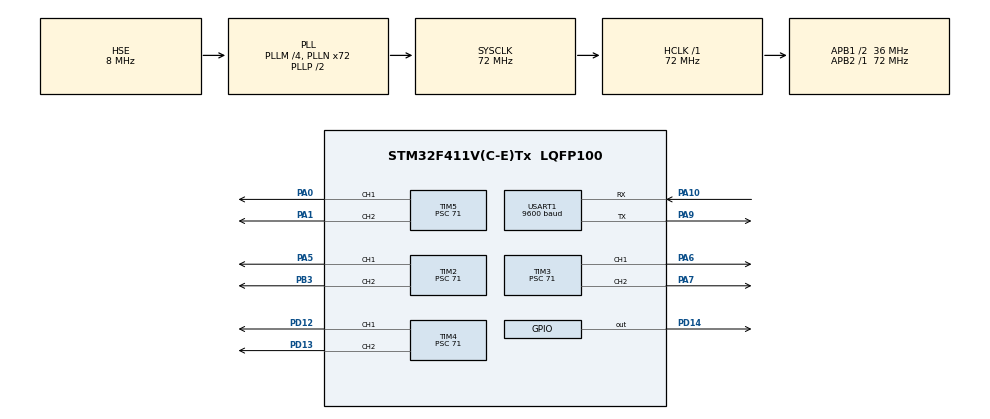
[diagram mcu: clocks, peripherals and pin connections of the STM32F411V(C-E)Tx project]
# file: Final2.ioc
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Mcu.Family=STM32F4
Mcu.Name=STM32F411V(C-E)Tx
Mcu.Package=LQFP100
NVIC.PriorityGroup=NVIC_PRIORITYGROUP_4
NVIC.USART1_IRQn=true\:0\:0\:false\:false\:true\:true\:true\:true
PA0-WKUP.Signal=S_TIM5_CH1
PA1.Signal=S_TIM5_CH2
PA10.Mode=Asynchronous
PA10.Signal=USART1_RX
PA5.Signal=S_TIM2_CH1_ETR
PA6.Signal=S_TIM3_CH1
PA7.Signal=S_TIM3_CH2
PA9.Mode=Asynchronous
PA9.Signal=USART1_TX
PB3.Signal=S_TIM2_CH2
PD12.Signal=S_TIM4_CH1
PD13.Signal=S_TIM4_CH2
PD14.Signal=GPIO_Output
PH0\ -\ OSC_IN.Mode=HSE-External-Oscillator
PH0\ -\ OSC_IN.Signal=RCC_OSC_IN
PH1\ -\ OSC_OUT.Mode=HSE-External-Oscillator
PH1\ -\ OSC_OUT.Signal=RCC_OSC_OUT
ProjectManager.HeapSize=0x200
ProjectManager.StackSize=0x400
ProjectManager.TargetToolchain=STM32CubeIDE
RCC.48MHZClocksFreq_Value=36000000
RCC.AHBFreq_Value=72000000
RCC.APB1CLKDivider=RCC_HCLK_DIV2
RCC.APB1Freq_Value=36000000
RCC.APB1TimFreq_Value=72000000
RCC.APB2Freq_Value=72000000
RCC.APB2TimFreq_Value=72000000
RCC.CortexFreq_Value=72000000
RCC.HCLKFreq_Value=72000000
RCC.HSE_VALUE=8000000
RCC.HSI_VALUE=16000000
RCC.LSE_VALUE=32768
RCC.PLLM=4
RCC.PLLN=72
RCC.PLLSourceVirtual=RCC_PLLSOURCE_HSE
RCC.SYSCLKFreq_VALUE=72000000
RCC.SYSCLKSource=RCC_SYSCLKSOURCE_PLLCLK
RCC.VCOOutputFreq_Value=144000000
SH.S_TIM2_CH1_ETR.0=TIM2_CH1,PWM Generation1 CH1
SH.S_TIM2_CH2.0=TIM2_CH2,PWM Generation2 CH2
SH.S_TIM3_CH1.0=TIM3_CH1,PWM Generation1 CH1
SH.S_TIM3_CH2.0=TIM3_CH2,PWM Generation2 CH2
SH.S_TIM4_CH1.0=TIM4_CH1,PWM Generation1 CH1
SH.S_TIM4_CH2.0=TIM4_CH2,PWM Generation2 CH2
SH.S_TIM5_CH1.0=TIM5_CH1,PWM Generation1 CH1
SH.S_TIM5_CH2.0=TIM5_CH2,PWM Generation2 CH2
TIM2.AutoReloadPreload=TIM_AUTORELOAD_PRELOAD_ENABLE
TIM2.Channel-PWM\ Generation1\ CH1=TIM_CHANNEL_1
TIM2.Channel-PWM\ Generation2\ CH2=TIM_CHANNEL_2
TIM2.Period=19999
TIM2.Prescaler=71
TIM2.Pulse-PWM\ Generation1\ CH1=499
TIM2.Pulse-PWM\ Generation2\ CH2=499
TIM3.AutoReloadPreload=TIM_AUTORELOAD_PRELOAD_ENABLE
TIM3.Channel-PWM\ Generation1\ CH1=TIM_CHANNEL_1
TIM3.Channel-PWM\ Generation2\ CH2=TIM_CHANNEL_2
TIM3.Period=19999
TIM3.Prescaler=71
TIM3.Pulse-PWM\ Generation1\ CH1=499
TIM3.Pulse-PWM\ Generation2\ CH2=499
TIM4.AutoReloadPreload=TIM_AUTORELOAD_PRELOAD_ENABLE
TIM4.Channel-PWM\ Generation1\ CH1=TIM_CHANNEL_1
TIM4.Channel-PWM\ Generation2\ CH2=TIM_CHANNEL_2
TIM4.Period=19999
TIM4.Prescaler=71
TIM4.Pulse-PWM\ Generation1\ CH1=500-1
TIM4.Pulse-PWM\ Generation2\ CH2=500-1
TIM5.AutoReloadPreload=TIM_AUTORELOAD_PRELOAD_ENABLE
TIM5.Channel-PWM\ Generation1\ CH1=TIM_CHANNEL_1
TIM5.Channel-PWM\ Generation2\ CH2=TIM_CHANNEL_2
TIM5.Period=19999
TIM5.Prescaler=71
TIM5.Pulse-PWM\ Generation1\ CH1=500-1
TIM5.Pulse-PWM\ Generation2\ CH2=500-1
USART1.BaudRate=9600
USART1.VirtualMode=VM_ASYNC
VP_TIM2_VS_ClockSourceINT.Mode=Internal
VP_TIM3_VS_ClockSourceINT.Mode=Internal
VP_TIM4_VS_ClockSourceINT.Mode=Internal
VP_TIM5_VS_ClockSourceINT.Mode=Internal
board=custom

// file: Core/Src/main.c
/* USER CODE BEGIN Header */
/**
  ******************************************************************************
  * @file           : main.c
  * @brief          : Main program body
  ******************************************************************************
  * @attention
  *
  * Copyright (c) 2024 STMicroelectronics.
  * All rights reserved.
  *
  * This software is licensed under terms that can be found in the LICENSE file
  * in the root directory of this software component.
  * If no LICENSE file comes with this software, it is provided AS-IS.
  *
  ******************************************************************************
  */
/* USER CODE END Header */
#include "main.h"

TIM_HandleTypeDef htim2;
TIM_HandleTypeDef htim3;
TIM_HandleTypeDef htim4;
TIM_HandleTypeDef htim5;

UART_HandleTypeDef huart1;

/* USER CODE BEGIN PV */
uint8_t rxData;//BT
/* USER CODE END PV */

void SystemClock_Config(void);
static void MX_GPIO_Init(void);
static void MX_TIM2_Init(void);
static void MX_TIM3_Init(void);
static void MX_TIM4_Init(void);
static void MX_TIM5_Init(void);
static void MX_USART1_UART_Init(void);

int main(void)
{

  /* MCU Configuration--------------------------------------------------------*/

  /* Reset of all peripherals, Initializes the Flash interface and the Systick. */
  HAL_Init();

  /* Configure the system clock */
  SystemClock_Config();

  /* Initialize all configured peripherals */
  MX_GPIO_Init();
  MX_TIM2_Init();
  MX_TIM3_Init();
  MX_TIM4_Init();
  MX_TIM5_Init();
  MX_USART1_UART_Init();
  /* USER CODE BEGIN 2 */
  HAL_UART_Receive_IT(&huart1,&rxData,1);//BT
  HAL_TIM_PWM_Start(&htim2, TIM_CHANNEL_1);//S
  HAL_TIM_PWM_Start(&htim2, TIM_CHANNEL_2);//S
  HAL_TIM_PWM_Start(&htim3, TIM_CHANNEL_1);//S
  HAL_TIM_PWM_Start(&htim3, TIM_CHANNEL_2);//S
  HAL_TIM_PWM_Start(&htim4, TIM_CHANNEL_1);//S
  HAL_TIM_PWM_Start(&htim4, TIM_CHANNEL_2);//S
  HAL_TIM_PWM_Start(&htim5, TIM_CHANNEL_1);//S
  HAL_TIM_PWM_Start(&htim5, TIM_CHANNEL_2);//S
  /* USER CODE END 2 */

  /* Infinite loop */
  while (1)
  {

  }
}

void SystemClock_Config(void)
{
  RCC_OscInitTypeDef RCC_OscInitStruct = {0};
  RCC_ClkInitTypeDef RCC_ClkInitStruct = {0};

  /** Configure the main internal regulator output voltage
  */
  __HAL_RCC_PWR_CLK_ENABLE();
  __HAL_PWR_VOLTAGESCALING_CONFIG(PWR_REGULATOR_VOLTAGE_SCALE1);

  /** Initializes the RCC Oscillators according to the specified parameters
  * in the RCC_OscInitTypeDef structure.
  */
  RCC_OscInitStruct.OscillatorType = RCC_OSCILLATORTYPE_HSE;
  RCC_OscInitStruct.HSEState = RCC_HSE_ON;
  RCC_OscInitStruct.PLL.PLLState = RCC_PLL_ON;
  RCC_OscInitStruct.PLL.PLLSource = RCC_PLLSOURCE_HSE;
  RCC_OscInitStruct.PLL.PLLM = 4;
  RCC_OscInitStruct.PLL.PLLN = 72;
  RCC_OscInitStruct.PLL.PLLP = RCC_PLLP_DIV2;
  RCC_OscInitStruct.PLL.PLLQ = 4;
  if (HAL_RCC_OscConfig(&RCC_OscInitStruct) != HAL_OK)
  {
    Error_Handler();
  }

  /** Initializes the CPU, AHB and APB buses clocks
  */
  RCC_ClkInitStruct.ClockType = RCC_CLOCKTYPE_HCLK|RCC_CLOCKTYPE_SYSCLK
                              |RCC_CLOCKTYPE_PCLK1|RCC_CLOCKTYPE_PCLK2;
  RCC_ClkInitStruct.SYSCLKSource = RCC_SYSCLKSOURCE_PLLCLK;
  RCC_ClkInitStruct.AHBCLKDivider = RCC_SYSCLK_DIV1;
  RCC_ClkInitStruct.APB1CLKDivider = RCC_HCLK_DIV2;
  RCC_ClkInitStruct.APB2CLKDivider = RCC_HCLK_DIV1;

  if (HAL_RCC_ClockConfig(&RCC_ClkInitStruct, FLASH_LATENCY_2) != HAL_OK)
  {
    Error_Handler();
  }
}

static void MX_TIM2_Init(void)
{

  TIM_ClockConfigTypeDef sClockSourceConfig = {0};
  TIM_MasterConfigTypeDef sMasterConfig = {0};
  TIM_OC_InitTypeDef sConfigOC = {0};

  htim2.Instance = TIM2;
  htim2.Init.Prescaler = 71;
  htim2.Init.CounterMode = TIM_COUNTERMODE_UP;
  htim2.Init.Period = 19999;
  htim2.Init.ClockDivision = TIM_CLOCKDIVISION_DIV1;
  htim2.Init.AutoReloadPreload = TIM_AUTORELOAD_PRELOAD_ENABLE;
  if (HAL_TIM_Base_Init(&htim2) != HAL_OK)
  {
    Error_Handler();
  }
  sClockSourceConfig.ClockSource = TIM_CLOCKSOURCE_INTERNAL;
  if (HAL_TIM_ConfigClockSource(&htim2, &sClockSourceConfig) != HAL_OK)
  {
    Error_Handler();
  }
  if (HAL_TIM_PWM_Init(&htim2) != HAL_OK)
  {
    Error_Handler();
  }
  sMasterConfig.MasterOutputTrigger = TIM_TRGO_RESET;
  sMasterConfig.MasterSlaveMode = TIM_MASTERSLAVEMODE_DISABLE;
  if (HAL_TIMEx_MasterConfigSynchronization(&htim2, &sMasterConfig) != HAL_OK)
  {
    Error_Handler();
  }
  sConfigOC.OCMode = TIM_OCMODE_PWM1;
  sConfigOC.Pulse = 499;
  sConfigOC.OCPolarity = TIM_OCPOLARITY_HIGH;
  sConfigOC.OCFastMode = TIM_OCFAST_DISABLE;
  if (HAL_TIM_PWM_ConfigChannel(&htim2, &sConfigOC, TIM_CHANNEL_1) != HAL_OK)
  {
    Error_Handler();
  }
  if (HAL_TIM_PWM_ConfigChannel(&htim2, &sConfigOC, TIM_CHANNEL_2) != HAL_OK)
  {
    Error_Handler();
  }
  HAL_TIM_MspPostInit(&htim2);

}

static void MX_TIM3_Init(void)
{

  TIM_ClockConfigTypeDef sClockSourceConfig = {0};
  TIM_MasterConfigTypeDef sMasterConfig = {0};
  TIM_OC_InitTypeDef sConfigOC = {0};

  htim3.Instance = TIM3;
  htim3.Init.Prescaler = 71;
  htim3.Init.CounterMode = TIM_COUNTERMODE_UP;
  htim3.Init.Period = 19999;
  htim3.Init.ClockDivision = TIM_CLOCKDIVISION_DIV1;
  htim3.Init.AutoReloadPreload = TIM_AUTORELOAD_PRELOAD_ENABLE;
  if (HAL_TIM_Base_Init(&htim3) != HAL_OK)
  {
    Error_Handler();
  }
  sClockSourceConfig.ClockSource = TIM_CLOCKSOURCE_INTERNAL;
  if (HAL_TIM_ConfigClockSource(&htim3, &sClockSourceConfig) != HAL_OK)
  {
    Error_Handler();
  }
  if (HAL_TIM_PWM_Init(&htim3) != HAL_OK)
  {
    Error_Handler();
  }
  sMasterConfig.MasterOutputTrigger = TIM_TRGO_RESET;
  sMasterConfig.MasterSlaveMode = TIM_MASTERSLAVEMODE_DISABLE;
  if (HAL_TIMEx_MasterConfigSynchronization(&htim3, &sMasterConfig) != HAL_OK)
  {
    Error_Handler();
  }
  sConfigOC.OCMode = TIM_OCMODE_PWM1;
  sConfigOC.Pulse = 499;
  sConfigOC.OCPolarity = TIM_OCPOLARITY_HIGH;
  sConfigOC.OCFastMode = TIM_OCFAST_DISABLE;
  if (HAL_TIM_PWM_ConfigChannel(&htim3, &sConfigOC, TIM_CHANNEL_1) != HAL_OK)
  {
    Error_Handler();
  }
  if (HAL_TIM_PWM_ConfigChannel(&htim3, &sConfigOC, TIM_CHANNEL_2) != HAL_OK)
  {
    Error_Handler();
  }
  HAL_TIM_MspPostInit(&htim3);

}

static void MX_TIM4_Init(void)
{

  TIM_ClockConfigTypeDef sClockSourceConfig = {0};
  TIM_MasterConfigTypeDef sMasterConfig = {0};
  TIM_OC_InitTypeDef sConfigOC = {0};

  htim4.Instance = TIM4;
  htim4.Init.Prescaler = 71;
  htim4.Init.CounterMode = TIM_COUNTERMODE_UP;
  htim4.Init.Period = 19999;
  htim4.Init.ClockDivision = TIM_CLOCKDIVISION_DIV1;
  htim4.Init.AutoReloadPreload = TIM_AUTORELOAD_PRELOAD_ENABLE;
  if (HAL_TIM_Base_Init(&htim4) != HAL_OK)
  {
    Error_Handler();
  }
  sClockSourceConfig.ClockSource = TIM_CLOCKSOURCE_INTERNAL;
  if (HAL_TIM_ConfigClockSource(&htim4, &sClockSourceConfig) != HAL_OK)
  {
    Error_Handler();
  }
  if (HAL_TIM_PWM_Init(&htim4) != HAL_OK)
  {
    Error_Handler();
  }
  sMasterConfig.MasterOutputTrigger = TIM_TRGO_RESET;
  sMasterConfig.MasterSlaveMode = TIM_MASTERSLAVEMODE_DISABLE;
  if (HAL_TIMEx_MasterConfigSynchronization(&htim4, &sMasterConfig) != HAL_OK)
  {
    Error_Handler();
  }
  sConfigOC.OCMode = TIM_OCMODE_PWM1;
  sConfigOC.Pulse = 500-1;
  sConfigOC.OCPolarity = TIM_OCPOLARITY_HIGH;
  sConfigOC.OCFastMode = TIM_OCFAST_DISABLE;
  if (HAL_TIM_PWM_ConfigChannel(&htim4, &sConfigOC, TIM_CHANNEL_1) != HAL_OK)
  {
    Error_Handler();
  }
  if (HAL_TIM_PWM_ConfigChannel(&htim4, &sConfigOC, TIM_CHANNEL_2) != HAL_OK)
  {
    Error_Handler();
  }
  HAL_TIM_MspPostInit(&htim4);

}

static void MX_TIM5_Init(void)
{

  TIM_ClockConfigTypeDef sClockSourceConfig = {0};
  TIM_MasterConfigTypeDef sMasterConfig = {0};
  TIM_OC_InitTypeDef sConfigOC = {0};

  htim5.Instance = TIM5;
  htim5.Init.Prescaler = 71;
  htim5.Init.CounterMode = TIM_COUNTERMODE_UP;
  htim5.Init.Period = 19999;
  htim5.Init.ClockDivision = TIM_CLOCKDIVISION_DIV1;
  htim5.Init.AutoReloadPreload = TIM_AUTORELOAD_PRELOAD_ENABLE;
  if (HAL_TIM_Base_Init(&htim5) != HAL_OK)
  {
    Error_Handler();
  }
  sClockSourceConfig.ClockSource = TIM_CLOCKSOURCE_INTERNAL;
  if (HAL_TIM_ConfigClockSource(&htim5, &sClockSourceConfig) != HAL_OK)
  {
    Error_Handler();
  }
  if (HAL_TIM_PWM_Init(&htim5) != HAL_OK)
  {
    Error_Handler();
  }
  sMasterConfig.MasterOutputTrigger = TIM_TRGO_RESET;
  sMasterConfig.MasterSlaveMode = TIM_MASTERSLAVEMODE_DISABLE;
  if (HAL_TIMEx_MasterConfigSynchronization(&htim5, &sMasterConfig) != HAL_OK)
  {
    Error_Handler();
  }
  sConfigOC.OCMode = TIM_OCMODE_PWM1;
  sConfigOC.Pulse = 500-1;
  sConfigOC.OCPolarity = TIM_OCPOLARITY_HIGH;
  sConfigOC.OCFastMode = TIM_OCFAST_DISABLE;
  if (HAL_TIM_PWM_ConfigChannel(&htim5, &sConfigOC, TIM_CHANNEL_1) != HAL_OK)
  {
    Error_Handler();
  }
  if (HAL_TIM_PWM_ConfigChannel(&htim5, &sConfigOC, TIM_CHANNEL_2) != HAL_OK)
  {
    Error_Handler();
  }
  HAL_TIM_MspPostInit(&htim5);

}

static void MX_USART1_UART_Init(void)
{

  huart1.Instance = USART1;
  huart1.Init.BaudRate = 9600;
  huart1.Init.WordLength = UART_WORDLENGTH_8B;
  huart1.Init.StopBits = UART_STOPBITS_1;
  huart1.Init.Parity = UART_PARITY_NONE;
  huart1.Init.Mode = UART_MODE_TX_RX;
  huart1.Init.HwFlowCtl = UART_HWCONTROL_NONE;
  huart1.Init.OverSampling = UART_OVERSAMPLING_16;
  if (HAL_UART_Init(&huart1) != HAL_OK)
  {
    Error_Handler();
  }

}

static void MX_GPIO_Init(void)
{
  GPIO_InitTypeDef GPIO_InitStruct = {0};

  /* GPIO Ports Clock Enable */
  __HAL_RCC_GPIOH_CLK_ENABLE();
  __HAL_RCC_GPIOA_CLK_ENABLE();
  __HAL_RCC_GPIOD_CLK_ENABLE();
  __HAL_RCC_GPIOB_CLK_ENABLE();

  /*Configure GPIO pin Output Level */
  HAL_GPIO_WritePin(GPIOD, GPIO_PIN_14, GPIO_PIN_RESET);

  /*Configure GPIO pin : PD14 */
  GPIO_InitStruct.Pin = GPIO_PIN_14;
  GPIO_InitStruct.Mode = GPIO_MODE_OUTPUT_PP;
  GPIO_InitStruct.Pull = GPIO_NOPULL;
  GPIO_InitStruct.Speed = GPIO_SPEED_FREQ_LOW;
  HAL_GPIO_Init(GPIOD, &GPIO_InitStruct);

}

/* USER CODE BEGIN 4 */
void HAL_UART_RxCpltCallback(UART_HandleTypeDef *huart)
{
  if(huart->Instance==USART1)
  {
    if(rxData==79) // Ascii value of 'O' is 79
    {
    	HAL_GPIO_WritePin(GPIOD, GPIO_PIN_14, 1);
    }
    else if (rxData==88) // Ascii value of 'X' is 88
    {
    	HAL_GPIO_WritePin(GPIOD, GPIO_PIN_14, 0);
    }
    else if (rxData==83) //'S' is 83
	{
    	HAL_GPIO_WritePin(GPIOD, GPIO_PIN_14, 1);
    	TIM2->CCR1=1000;
    	TIM2->CCR2=2500;
    	TIM3->CCR1=1000;
		TIM3->CCR2=2500; //180 only for right

    	TIM4->CCR1=1000;
		TIM4->CCR2=505;
    	TIM5->CCR1=1000;
    	TIM5->CCR2=505;
	}
    else if (rxData==84) // 84 is T
	{
		TIM2->CCR1=600;
		TIM2->CCR2=1800;

		TIM5->CCR1=1400;
		TIM5->CCR2=1300;

	}
    else if (rxData==85) // 85 U
	{
		TIM2->CCR2=2500;
		TIM5->CCR2=505;

	}
    else if (rxData==86) // 85 V
	{
		TIM2->CCR1=1000;
		TIM5->CCR1=1000;
	}
    else if (rxData==80) // 80 P
	{
		TIM3->CCR1=600;
		TIM3->CCR2=1800;
		TIM4->CCR1=1400;
		TIM4->CCR2=1300;
	}
	else if (rxData==81) // 81 Q
	{
		TIM3->CCR2=2500;
		TIM4->CCR2=505;
	}
	else if (rxData==82) // 85 R
	{
		TIM3->CCR1=1000;
		TIM4->CCR1=1000;
	}
	else if (rxData==70) // 70 F
	{
		TIM4->CCR1=500;
		TIM4->CCR2=1000;
	}
	else if (rxData==71) // 71 G
	{
		TIM4->CCR2=1000;
		TIM4->CCR2=505;
	}
    HAL_UART_Receive_IT(&huart1,&rxData,1); // Enabling interrupt receive again
  }
}
/* USER CODE END 4 */

void Error_Handler(void)
{
  __disable_irq();
  while (1)
  {
  }
}
